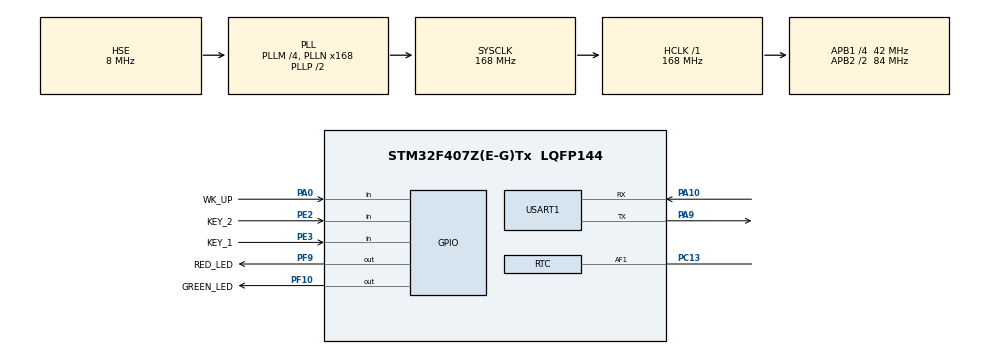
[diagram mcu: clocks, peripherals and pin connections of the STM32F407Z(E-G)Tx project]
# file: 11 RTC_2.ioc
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Mcu.Family=STM32F4
Mcu.Name=STM32F407Z(E-G)Tx
Mcu.Package=LQFP144
NVIC.PriorityGroup=NVIC_PRIORITYGROUP_2
NVIC.RTC_WKUP_IRQn=true\:2\:1\:true\:false\:true\:true\:true\:true
NVIC.TAMP_STAMP_IRQn=true\:1\:0\:true\:false\:true\:true\:true\:true
PA0-WKUP.GPIO_Label=WK_UP
PA0-WKUP.GPIO_PuPd=GPIO_PULLDOWN
PA0-WKUP.Signal=GPIO_Input
PA10.Mode=Asynchronous
PA10.Signal=USART1_RX
PA13.Mode=Serial_Wire
PA13.Signal=SYS_JTMS-SWDIO
PA14.Mode=Serial_Wire
PA14.Signal=SYS_JTCK-SWCLK
PA9.Mode=Asynchronous
PA9.Signal=USART1_TX
PC13-ANTI_TAMP.Mode=Tamper 1 enabled - Input Enabled to AF1
PC13-ANTI_TAMP.Signal=RTC_AF1
PC14-OSC32_IN.Mode=LSE-External-Oscillator
PC14-OSC32_IN.Signal=RCC_OSC32_IN
PC15-OSC32_OUT.Mode=LSE-External-Oscillator
PC15-OSC32_OUT.Signal=RCC_OSC32_OUT
PE2.GPIO_Label=KEY_2
PE2.GPIO_PuPd=GPIO_PULLUP
PE2.Signal=GPIO_Input
PE3.GPIO_Label=KEY_1
PE3.GPIO_PuPd=GPIO_PULLUP
PE3.Signal=GPIO_Input
PF10.GPIO_Label=GREEN_LED
PF10.GPIO_PuPd=GPIO_PULLUP
PF10.Signal=GPIO_Output
PF9.GPIO_Label=RED_LED
PF9.GPIO_PuPd=GPIO_PULLUP
PF9.Signal=GPIO_Output
PH0-OSC_IN.Mode=HSE-External-Oscillator
PH0-OSC_IN.Signal=RCC_OSC_IN
PH1-OSC_OUT.Mode=HSE-External-Oscillator
PH1-OSC_OUT.Signal=RCC_OSC_OUT
ProjectManager.HeapSize=0x200
ProjectManager.StackSize=0x400
ProjectManager.TargetToolchain=MDK-ARM V5.32
RCC.48MHZClocksFreq_Value=84000000
RCC.AHBFreq_Value=168000000
RCC.APB1CLKDivider=RCC_HCLK_DIV4
RCC.APB1Freq_Value=42000000
RCC.APB1TimFreq_Value=84000000
RCC.APB2CLKDivider=RCC_HCLK_DIV2
RCC.APB2Freq_Value=84000000
RCC.APB2TimFreq_Value=168000000
RCC.CortexFreq_Value=168000000
RCC.HCLKFreq_Value=168000000
RCC.HSE_VALUE=8000000
RCC.HSI_VALUE=16000000
RCC.PLLM=4
RCC.PLLN=168
RCC.PLLSourceVirtual=RCC_PLLSOURCE_HSE
RCC.RCC_RTC_Clock_Source=RCC_RTCCLKSOURCE_LSE
RCC.SYSCLKFreq_VALUE=168000000
RCC.SYSCLKSource=RCC_SYSCLKSOURCE_PLLCLK
RCC.VCOOutputFreq_Value=336000000
RTC.Filter=RTC_TAMPERFILTER_4SAMPLE
RTC.PinSelection_1=RTC_TAMPERPIN_DEFAULT
RTC.PrechargeDuration=RTC_TAMPERPRECHARGEDURATION_2RTCCLK
RTC.SamplingFrequency=RTC_TAMPERSAMPLINGFREQ_RTCCLK_DIV512
RTC.WakeUpClock=RTC_WAKEUPCLOCK_CK_SPRE_16BITS
USART1.VirtualMode=VM_ASYNC
VP_RTC_VS_RTC_Activate.Mode=RTC_Enabled
VP_RTC_VS_RTC_Calendar.Mode=RTC_Calendar
VP_RTC_VS_RTC_WakeUp_intern.Mode=WakeUp
board=custom

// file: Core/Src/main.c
/* USER CODE BEGIN Header */
/**
  ******************************************************************************
  * @file           : main.c
  * @brief          : Main program body
  ******************************************************************************
  * @attention
  *
  * Copyright (c) 2024 STMicroelectronics.
  * All rights reserved.
  *
  * This software is licensed under terms that can be found in the LICENSE file
  * in the root directory of this software component.
  * If no LICENSE file comes with this software, it is provided AS-IS.
  *
  ******************************************************************************
  */
/* USER CODE END Header */
#include "main.h"
#include "rtc.h"
#include "usart.h"
#include "gpio.h"

/* USER CODE BEGIN Includes */
#include "stdio.h"

#ifdef __GNUC__
#define PUTCHAR_PROTOTYPE int __io_putchar(int ch)
#else
#define PUTCHAR_PROTOTYPE int fputc(int ch, FILE *f)
#endif
PUTCHAR_PROTOTYPE
{
    HAL_UART_Transmit(&huart1, (uint8_t *)&ch, 1, HAL_MAX_DELAY);
    return ch;
}
/* USER CODE END Includes */

void SystemClock_Config(void);

int main(void)
{

  /* MCU Configuration--------------------------------------------------------*/

  /* Reset of all peripherals, Initializes the Flash interface and the Systick. */
  HAL_Init();

  /* Configure the system clock */
  SystemClock_Config();

  /* Initialize all configured peripherals */
  MX_GPIO_Init();
  MX_RTC_Init();
  MX_USART1_UART_Init();

  /* Infinite loop */
  while (1)
  {

    /* USER CODE BEGIN 3 */
		/*按下WK_UP按键将当前时间存储到备份寄存器*/
		if(HAL_GPIO_ReadPin(WK_UP_GPIO_Port,WK_UP_Pin) == GPIO_PIN_SET)
		{
				HAL_Delay(50);
				if(HAL_GPIO_ReadPin(WK_UP_GPIO_Port,WK_UP_Pin) == GPIO_PIN_SET)
				{
						RTC_TimeTypeDef sTime;
						RTC_DateTypeDef sDate;
						if(HAL_RTC_GetTime(&hrtc, &sTime,  RTC_FORMAT_BIN) == HAL_OK)
						{
								HAL_RTC_GetDate(&hrtc, &sDate,  RTC_FORMAT_BIN);
								HAL_RTCEx_BKUPWrite(&hrtc,RTC_BKP_DR2, sTime.Hours);
								HAL_RTCEx_BKUPWrite(&hrtc,RTC_BKP_DR3, sTime.Minutes);
								HAL_RTCEx_BKUPWrite(&hrtc,RTC_BKP_DR4, sTime.Seconds);
								char timeStr[30];
								sprintf(timeStr,"%2d:%2d:%2d",sTime.Hours,sTime.Minutes,sTime.Seconds);
								printf("Store %s to the backup register\r\n", timeStr);
								while(HAL_GPIO_ReadPin(WK_UP_GPIO_Port,WK_UP_Pin));
						}
				}
		}

		/*按下KEY2按键将存储到备份寄存器的时间利用串口输出*/
		if(HAL_GPIO_ReadPin(KEY_2_GPIO_Port,KEY_2_Pin) == GPIO_PIN_RESET)
		{
				HAL_Delay(50);
				if(HAL_GPIO_ReadPin(KEY_2_GPIO_Port,KEY_2_Pin) == GPIO_PIN_RESET)
				{
						uint32_t  sHour,sMinute,sSecond;
						sHour = HAL_RTCEx_BKUPRead(&hrtc, RTC_BKP_DR2);	//Hour
						sMinute = HAL_RTCEx_BKUPRead(&hrtc, RTC_BKP_DR3);	//Minute
						sSecond = HAL_RTCEx_BKUPRead(&hrtc, RTC_BKP_DR4);	//Second
						char timeStr[30];
						sprintf(timeStr,"%u:%u:%u",sHour,sMinute,sSecond);
						printf("Read out %s from the backup register\r\n", timeStr);
						while(!HAL_GPIO_ReadPin(KEY_2_GPIO_Port,KEY_2_Pin));
				}
		}
  }
  /* USER CODE END 3 */
}

void SystemClock_Config(void)
{
  RCC_OscInitTypeDef RCC_OscInitStruct = {0};
  RCC_ClkInitTypeDef RCC_ClkInitStruct = {0};

  /** Configure the main internal regulator output voltage
  */
  __HAL_RCC_PWR_CLK_ENABLE();
  __HAL_PWR_VOLTAGESCALING_CONFIG(PWR_REGULATOR_VOLTAGE_SCALE1);

  /** Initializes the RCC Oscillators according to the specified parameters
  * in the RCC_OscInitTypeDef structure.
  */
  RCC_OscInitStruct.OscillatorType = RCC_OSCILLATORTYPE_HSE|RCC_OSCILLATORTYPE_LSE;
  RCC_OscInitStruct.HSEState = RCC_HSE_ON;
  RCC_OscInitStruct.LSEState = RCC_LSE_ON;
  RCC_OscInitStruct.PLL.PLLState = RCC_PLL_ON;
  RCC_OscInitStruct.PLL.PLLSource = RCC_PLLSOURCE_HSE;
  RCC_OscInitStruct.PLL.PLLM = 4;
  RCC_OscInitStruct.PLL.PLLN = 168;
  RCC_OscInitStruct.PLL.PLLP = RCC_PLLP_DIV2;
  RCC_OscInitStruct.PLL.PLLQ = 4;
  if (HAL_RCC_OscConfig(&RCC_OscInitStruct) != HAL_OK)
  {
    Error_Handler();
  }

  /** Initializes the CPU, AHB and APB buses clocks
  */
  RCC_ClkInitStruct.ClockType = RCC_CLOCKTYPE_HCLK|RCC_CLOCKTYPE_SYSCLK
                              |RCC_CLOCKTYPE_PCLK1|RCC_CLOCKTYPE_PCLK2;
  RCC_ClkInitStruct.SYSCLKSource = RCC_SYSCLKSOURCE_PLLCLK;
  RCC_ClkInitStruct.AHBCLKDivider = RCC_SYSCLK_DIV1;
  RCC_ClkInitStruct.APB1CLKDivider = RCC_HCLK_DIV4;
  RCC_ClkInitStruct.APB2CLKDivider = RCC_HCLK_DIV2;

  if (HAL_RCC_ClockConfig(&RCC_ClkInitStruct, FLASH_LATENCY_5) != HAL_OK)
  {
    Error_Handler();
  }
}

void Error_Handler(void)
{
  __disable_irq();
  while (1)
  {
  }
}
